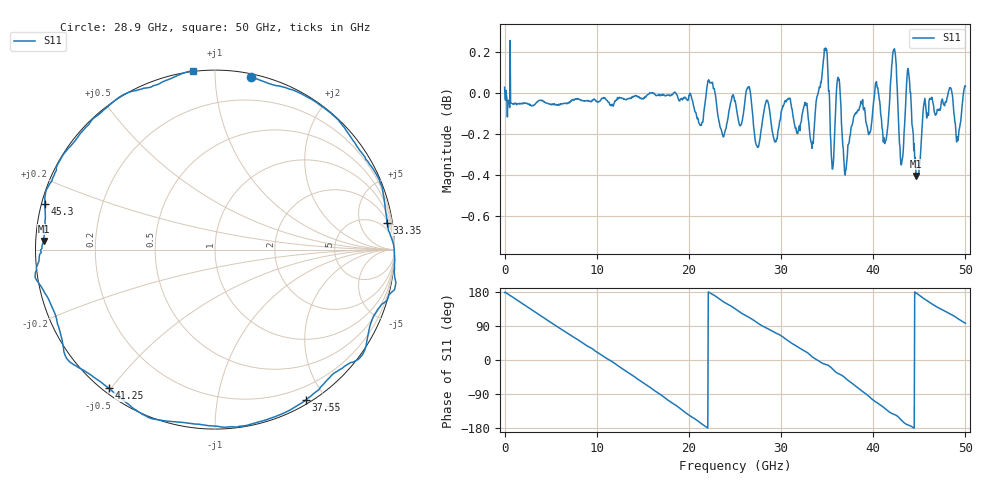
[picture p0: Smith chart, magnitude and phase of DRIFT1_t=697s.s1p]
!Created with skrf (http://scikit-rf.org).
# Hz S RI R 50.0
!freq ReS11 ImS11
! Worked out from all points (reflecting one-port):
!   1001 points, 300 kHz to 50 GHz, reference 50 ohm
!   lowest |S11| = -0.4 dB at 44.65 GHz (marker M1), VSWR 43.02, Z = 1.16 + j1.25 ohm
!   phase of S11 starts at 178 deg and turns -801 deg over the sweep
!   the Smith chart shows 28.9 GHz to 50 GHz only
!   S11 on the Smith chart (normalised r, x): 28.9 GHz: 0.02, +1.23; 33.35 GHz: 2, +12; 37.55 GHz: 0.04, -1.77; 41.25 GHz: 0.02, -0.49; 45.3 GHz: 0.01, +0.13; 50 GHz: -0.00, +0.89
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300000  -1.003 0.037
1.75029e9  -0.874 0.4733
3.600278e9  -0.521 0.8479
6.250262e9  0.1766 0.9781
7.900253e9  0.583 0.8087
9.800241e9  0.9086 0.4084
1.250022e10  0.9455 -0.3172
1.395022e10  0.7453 -0.6633
1.59002e10  0.2711 -0.9626
1.875019e10  -0.5347 -0.8433
2.020018e10  -0.8545 -0.5173
2.200017e10  -1.004 -0.0262
2.500015e10  -0.7103 0.6978
2.660014e10  -0.3661 0.9329
2.890013e10  0.2009 0.9633
3.125011e10  0.7263 0.6711
3.33501e10  0.9578 0.1498
3.500009e10  0.9962 -0.2278
3.750008e10  0.5171 -0.8282
3.755007e10  0.5053 -0.838
3.910007e10  0.0404 -0.989
4.125005e10  -0.5922 -0.7708
4.245005e10  -0.8387 -0.5778
4.375004e10  -1.002 -0.1561
4.465003e10  -0.9534 0.0477
4.530003e10  -0.9473 0.2521
4.720002e10  -0.7162 0.6849
5e10  -0.122 0.9963
